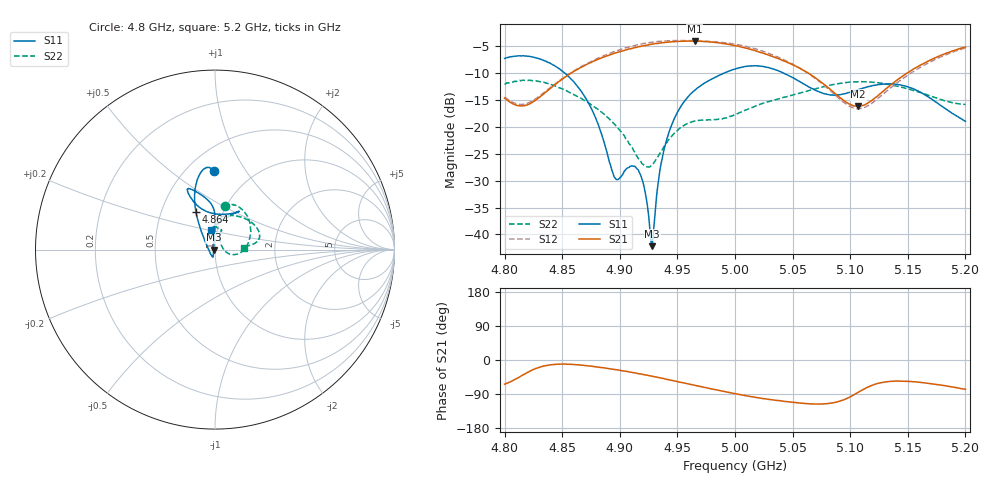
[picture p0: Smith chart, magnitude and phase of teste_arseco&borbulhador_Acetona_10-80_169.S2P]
! Network Analyzer HP8722D
! Hewlett-Packard
! Data name: Linha & Wilkinson
! Saver's name: Rodrigo Anjos
! Comments: Teste da utilização de aquisição
! continua pelo VNA HP8722D
! Time and date: 25/4/2025 16:40
!  Frequency  S11  S21  S12  S22
# HZ  S  MA R 50
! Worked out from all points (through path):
!   401 points, 4.8 GHz to 5.2 GHz, reference 50 ohm
!   highest |S21| = -3.97 dB at 4.965 GHz (marker M1); lowest = -16.1 dB at 5.107 GHz (marker M2)
!   lowest |S11| = -42.2 dB at 4.928 GHz (marker M3), VSWR 1.02, Z = 49.2 + j0.0457 ohm
!   |S11| at or under -10 dB: 4.852 GHz to 4.99 GHz (137.8 MHz wide, 2.8 % of centre); 5.043 GHz to end of sweep
!   |S22| runs from -27.5 to -11.3 dB; largest |S21 - S12| = 1.2
!   S11 on the Smith chart (normalised r, x): 4.8 GHz: 0.67, +0.72; 4.864 GHz: 0.75, +0.33; 5.2 GHz: 0.94, +0.21
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4.8e9  0.4353 90.9  0.1857 -63.9  0.1907 69.6  0.2485 77.4
4.821e9  0.4551 97.5  0.163 -30.8  0.1682 99.7  0.2724 60.9
4.845e9  0.3621 107.6  0.2536 -11.3  0.2579 119.4  0.2381 34.3
4.864e9  0.2339 116.9  0.3482 -12.8  0.3518 121.0  0.1906 12.3
4.867e9  0.2111 118.6  0.3624 -13.7  0.3674 120.8  0.1833 8.8
4.88e9  0.1138 128.7  0.4219 -18.1  0.432 118.3  0.1485 -5.1
4.896e9  0.03334 -169.4  0.488 -25.2  0.5061 113.3  0.1047 -15.6
4.911e9  0.04337 -107.1  0.541 -32.9  0.5681 106.9  0.06353 -12.2
4.917e9  0.03756 -105.4  0.5606 -36.2  0.5878 103.5  0.04972 -1.0
4.921e9  0.02785 -109.5  0.5718 -38.8  0.5989 101.4  0.04403 12.6
4.928e9  0.007764 176.6  0.5901 -42.7  0.6159 97.1  0.04449 40.1
4.934e9  0.03426 100.9  0.6026 -46.5  0.6284 93.5  0.0552 57.4
4.939e9  0.06532 93.6  0.6125 -49.6  0.6342 90.1  0.06696 65.0
4.946e9  0.1108 90.4  0.6229 -54.4  0.6375 85.7  0.08419 69.7
4.965e9  0.2194 91.3  0.6332 -66.9  0.6372 73.5  0.1137 71.1
5e9  0.3466 109.3  0.5728 -88.9  0.5913 50.9  0.1308 88.2
5.03e9  0.3549 115.2  0.4634 -104.1  0.4816 34.0  0.1728 85.7
5.067e9  0.2278 105.5  0.2998 -115.8  0.2977 23.6  0.222 57.3
5.107e9  0.2228 64.7  0.1559 -85.3  0.1477 57.7  0.2638 24.2
5.134e9  0.2518 57.8  0.24 -56.8  0.2259 88.7  0.2484 12.4
5.168e9  0.1899 69.9  0.4121 -61.6  0.3956 85.3  0.1968 7.0
5.2e9  0.1129 100.7  0.5547 -77.5  0.5438 70.3  0.162 3.8
